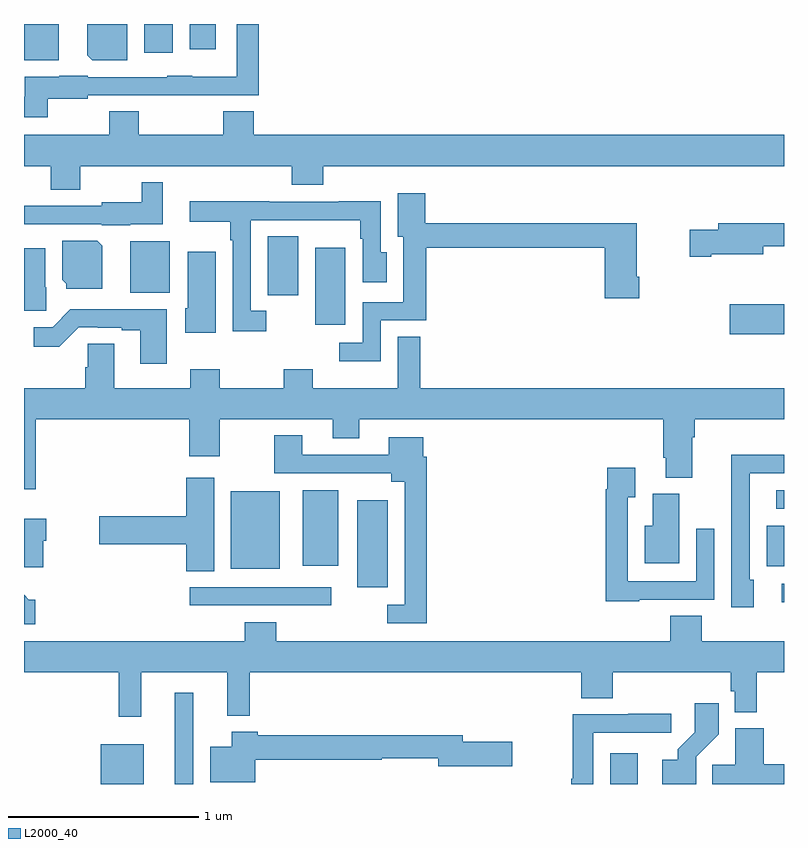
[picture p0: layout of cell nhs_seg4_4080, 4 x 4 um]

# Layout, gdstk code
import gdstk
lib = gdstk.Library(unit=1e-6, precision=1e-09)
def R(c, l, rs):  # rectangles x0, y0, x1, y1
    for r in rs: c.add(gdstk.rectangle(r[:2], r[2:], *l))
def P(c, l, *ps):  # polygons
    for p in ps: c.add(gdstk.Polygon(p, *l))
L2000_40 = (2000, 40)

nhs_seg4_4080 = lib.new_cell('nhs_seg4_4080')
R(nhs_seg4_4080, L2000_40, [(327.404,794.9,327.631,795.109), (327.794,794.9,327.891,795.379), (330.086,794.9,330.229,795.061), (327.873,795.84,328.618,795.936), (330.987,795.857,331,795.954), (328.754,795.935,328.915,796.393), (328.088,796.034,328.345,796.441), (330.908,796.047,331,796.258), (328.466,796.049,328.654,796.447), (330.96,796.35,331,796.446), (330.714,797.267,331,797.425), (328.532,797.316,328.69,797.722), (328.283,797.472,328.444,797.783), (327.56,797.486,327.766,797.756), (327,798.71,327.184,798.9), (327.632,798.75,327.784,798.9), (327.872,798.768,328.009,798.9)])
P(nhs_seg4_4080, L2000_40, [(327.124,798.506),(327.336,798.506),(327.336,798.525),(327.753,798.525),(327.753,798.524),(327.985,798.524),(327.985,798.525),(328.235,798.525),(328.235,798.9),(328.119,798.9),(328.119,798.622),(327.885,798.622),(327.885,798.628),(327.753,798.628),(327.753,798.621),(327.336,798.621),(327.336,798.628),(327.186,798.628),(327.186,798.622),(327.003,798.622),(327.003,798.517),(327,798.517),(327,798.408),(327.124,798.408)],
  [(327.544,798.9),(327.332,798.9),(327.332,798.736),(327.358,798.71),(327.544,798.71)],
  [(327.297,798.152),(328.409,798.152),(328.409,798.053),(328.574,798.053),(328.574,798.152),(331,798.152),(331,798.316),(328.208,798.316),(328.208,798.44),(328.048,798.44),(328.048,798.316),(327.603,798.316),(327.603,798.44),(327.448,798.44),(327.448,798.316),(327,798.316),(327,798.152),(327.142,798.152),(327.142,798.028),(327.297,798.028)],
  [(327.558,797.846),(327.73,797.846),(327.73,798.067),(327.621,798.067),(327.621,797.962),(327.408,797.962),(327.408,797.943),(327,797.943),(327,797.847),(327.408,797.847),(327.408,797.84),(327.558,797.84)],
  [(328.878,797.34),(329.116,797.34),(329.116,797.722),(330.056,797.722),(330.056,797.457),(330.239,797.457),(330.239,797.569),(330.226,797.569),(330.226,797.851),(329.111,797.851),(329.111,798.01),(328.967,798.01),(328.967,797.781),(328.997,797.781),(328.997,797.436),(328.782,797.436),(328.782,797.223),(328.659,797.223),(328.659,797.126),(328.878,797.126)],
  [(328.276,797.391),(328.194,797.391),(328.194,797.868),(328.54,797.868),(328.54,797.867),(328.77,797.867),(328.77,797.771),(328.782,797.771),(328.782,797.541),(328.909,797.541),(328.909,797.7),(328.878,797.7),(328.878,797.966),(328.657,797.966),(328.657,797.964),(328.291,797.964),(328.291,797.966),(327.873,797.966),(327.873,797.858),(328.086,797.858),(328.086,797.762),(328.098,797.762),(328.098,797.283),(328.276,797.283)],
  [(330.616,797.687),(330.892,797.687),(330.892,797.73),(331,797.73),(331,797.851),(330.653,797.851),(330.653,797.817),(330.504,797.817),(330.504,797.675),(330.616,797.675)],
  [(327.412,797.732),(327.386,797.758),(327.2,797.758),(327.2,797.554),(327.222,797.532),(327.222,797.507),(327.412,797.507)],
  [(327.116,797.514),(327.112,797.514),(327.112,797.719),(327,797.719),(327,797.391),(327.116,797.391)],
  [(328.009,797.701),(327.863,797.701),(327.863,797.403),(327.848,797.403),(327.848,797.274),(328.009,797.274)],
  [(327.751,797.398),(327.244,797.398),(327.15,797.304),(327.051,797.304),(327.051,797.202),(327.186,797.202),(327.288,797.304),(327.388,797.304),(327.388,797.301),(327.515,797.301),(327.515,797.289),(327.611,797.289),(327.611,797.112),(327.751,797.112)],
  [(327.062,796.82),(327.869,796.82),(327.869,796.626),(328.029,796.626),(328.029,796.82),(328.625,796.82),(328.625,796.721),(328.765,796.721),(328.765,796.82),(330.365,796.82),(330.365,796.618),(330.377,796.618),(330.377,796.513),(330.517,796.513),(330.517,796.724),(330.53,796.724),(330.53,796.82),(331,796.82),(331,796.984),(329.086,796.984),(329.086,797.255),(328.967,797.255),(328.967,796.984),(328.521,796.984),(328.521,797.083),(328.366,797.083),(328.366,796.984),(328.029,796.984),(328.029,797.083),(327.874,797.083),(327.874,796.984),(327.475,796.984),(327.475,797.216),(327.336,797.216),(327.336,797.094),(327.323,797.094),(327.323,796.984),(327,796.984),(327,796.452),(327.062,796.452)],
  [(329.12,796.622),(329.101,796.622),(329.101,796.726),(328.919,796.726),(328.919,796.632),(328.465,796.632),(328.465,796.735),(328.318,796.735),(328.318,796.536),(328.934,796.536),(328.934,796.49),(329.004,796.49),(329.004,795.843),(328.911,795.843),(328.911,795.747),(329.12,795.747)],
  [(330.841,795.975),(330.819,795.975),(330.819,796.536),(331,796.536),(331,796.634),(330.722,796.634),(330.722,796.33),(330.723,796.33),(330.723,795.831),(330.841,795.831)],
  [(330.237,795.87),(330.633,795.87),(330.633,796.243),(330.537,796.243),(330.537,795.966),(330.177,795.966),(330.177,796.408),(330.217,796.408),(330.217,796.564),(330.069,796.564),(330.069,796.451),(330.061,796.451),(330.061,795.863),(330.237,795.863)],
  [(328,796.513),(327.854,796.513),(327.854,796.31),(327.396,796.31),(327.396,796.163),(327.854,796.163),(327.854,796.021),(328,796.021)],
  [(330.448,796.428),(330.308,796.428),(330.308,796.258),(330.266,796.258),(330.266,796.061),(330.448,796.061)],
  [(327.1,796.179),(327.118,796.179),(327.118,796.297),(327,796.297),(327,796.04),(327.1,796.04)],
  [(327.058,795.871),(327.026,795.871),(327,795.897),(327,795.741),(327.058,795.741)],
  [(327.617,795.488),(328.07,795.488),(328.07,795.26),(328.187,795.26),(328.187,795.488),(329.933,795.488),(329.933,795.352),(330.098,795.352),(330.098,795.488),(330.721,795.488),(330.721,795.387),(330.741,795.387),(330.741,795.278),(330.857,795.278),(330.857,795.488),(331,795.488),(331,795.652),(330.566,795.652),(330.566,795.785),(330.401,795.785),(330.401,795.652),(328.328,795.652),(328.328,795.751),(328.163,795.751),(328.163,795.652),(327,795.652),(327,795.488),(327.499,795.488),(327.499,795.255),(327.617,795.255)],
  [(330.537,795.043),(330.656,795.162),(330.656,795.325),(330.531,795.325),(330.531,795.173),(330.44,795.083),(330.44,795.028),(330.36,795.028),(330.36,794.9),(330.537,794.9)],
  [(329.997,795.171),(330.406,795.171),(330.406,795.27),(330.181,795.27),(330.181,795.267),(329.889,795.267),(329.889,794.927),(329.881,794.927),(329.881,794.9),(329.997,794.9)],
  [(331,795.004),(330.893,795.004),(330.893,795.193),(330.743,795.193),(330.743,795.002),(330.622,795.002),(330.622,794.9),(331,794.9)],
  [(328.216,795.028),(328.884,795.028),(328.884,795.036),(329.18,795.036),(329.18,794.993),(329.569,794.993),(329.569,795.123),(329.308,795.123),(329.308,795.157),(328.229,795.157),(328.229,795.175),(328.094,795.175),(328.094,795.097),(327.98,795.097),(327.98,794.909),(328.216,794.909)])

lib.write_gds('nhs_seg4_4080.gds')
